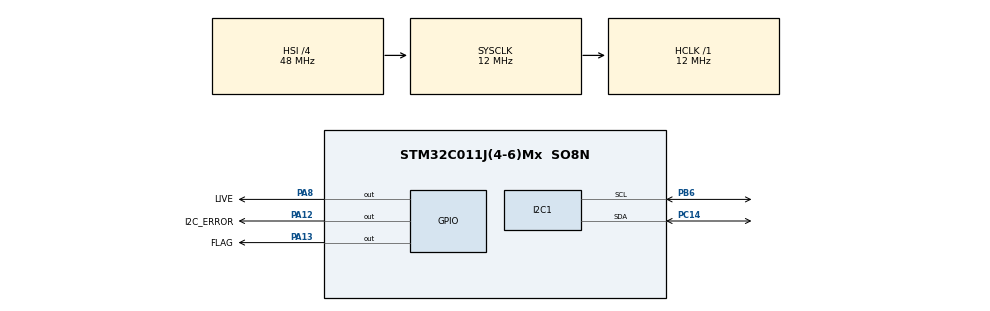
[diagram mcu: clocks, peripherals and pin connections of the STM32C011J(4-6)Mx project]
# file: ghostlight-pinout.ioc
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ADC1.NbrOfConversionFlag=0
ADC1.SelectedChannel=ADC_CHANNEL_VREFINT
ADC1.master=1
Dma.ADC1.1.Direction=DMA_PERIPH_TO_MEMORY
Dma.ADC1.1.EventEnable=DISABLE
Dma.ADC1.1.Instance=DMA1_Channel1
Dma.ADC1.1.MemDataAlignment=DMA_MDATAALIGN_HALFWORD
Dma.ADC1.1.MemInc=DMA_MINC_ENABLE
Dma.ADC1.1.Mode=DMA_NORMAL
Dma.ADC1.1.PeriphDataAlignment=DMA_PDATAALIGN_HALFWORD
Dma.ADC1.1.PeriphInc=DMA_PINC_DISABLE
Dma.ADC1.1.Polarity=HAL_DMAMUX_REQ_GEN_RISING
Dma.ADC1.1.Priority=DMA_PRIORITY_LOW
Dma.ADC1.1.RequestNumber=1
Dma.ADC1.1.SignalID=NONE
Dma.ADC1.1.SyncEnable=DISABLE
Dma.ADC1.1.SyncPolarity=HAL_DMAMUX_SYNC_NO_EVENT
Dma.ADC1.1.SyncRequestNumber=1
Dma.ADC1.1.SyncSignalID=NONE
Dma.I2C1_RX.2.Direction=DMA_PERIPH_TO_MEMORY
Dma.I2C1_RX.2.EventEnable=DISABLE
Dma.I2C1_RX.2.Instance=DMA1_Channel3
Dma.I2C1_RX.2.MemDataAlignment=DMA_MDATAALIGN_BYTE
Dma.I2C1_RX.2.MemInc=DMA_MINC_ENABLE
Dma.I2C1_RX.2.Mode=DMA_NORMAL
Dma.I2C1_RX.2.PeriphDataAlignment=DMA_PDATAALIGN_BYTE
Dma.I2C1_RX.2.PeriphInc=DMA_PINC_DISABLE
Dma.I2C1_RX.2.Polarity=HAL_DMAMUX_REQ_GEN_RISING
Dma.I2C1_RX.2.Priority=DMA_PRIORITY_LOW
Dma.I2C1_RX.2.RequestNumber=1
Dma.I2C1_RX.2.SignalID=NONE
Dma.I2C1_RX.2.SyncEnable=DISABLE
Dma.I2C1_RX.2.SyncPolarity=HAL_DMAMUX_SYNC_NO_EVENT
Dma.I2C1_RX.2.SyncRequestNumber=1
Dma.I2C1_RX.2.SyncSignalID=NONE
Dma.I2C1_TX.0.Direction=DMA_MEMORY_TO_PERIPH
Dma.I2C1_TX.0.EventEnable=DISABLE
Dma.I2C1_TX.0.Instance=DMA1_Channel2
Dma.I2C1_TX.0.MemDataAlignment=DMA_MDATAALIGN_BYTE
Dma.I2C1_TX.0.MemInc=DMA_MINC_ENABLE
Dma.I2C1_TX.0.Mode=DMA_NORMAL
Dma.I2C1_TX.0.PeriphDataAlignment=DMA_PDATAALIGN_BYTE
Dma.I2C1_TX.0.PeriphInc=DMA_PINC_DISABLE
Dma.I2C1_TX.0.Polarity=HAL_DMAMUX_REQ_GEN_RISING
Dma.I2C1_TX.0.Priority=DMA_PRIORITY_LOW
Dma.I2C1_TX.0.RequestNumber=1
Dma.I2C1_TX.0.SignalID=NONE
Dma.I2C1_TX.0.SyncEnable=DISABLE
Dma.I2C1_TX.0.SyncPolarity=HAL_DMAMUX_SYNC_NO_EVENT
Dma.I2C1_TX.0.SyncRequestNumber=1
Dma.I2C1_TX.0.SyncSignalID=NONE
Dma.Request0=I2C1_TX
Dma.Request1=ADC1
Dma.Request2=I2C1_RX
I2C1.Timing=0x00402D41
Mcu.Family=STM32C0
Mcu.Name=STM32C011J(4-6)Mx
Mcu.Package=SO8N
NVIC.DMA1_Channel1_IRQn=true\:0\:0\:false\:false\:true\:false\:true\:true
NVIC.DMA1_Channel2_3_IRQn=true\:0\:0\:false\:false\:true\:false\:true\:true
NVIC.I2C1_IRQn=true\:0\:0\:false\:false\:true\:true\:true\:true
NVIC.TIM14_IRQn=true\:0\:0\:false\:false\:true\:true\:true\:true
PA12\ [PA10].GPIO_Label=I2C_ERROR
PA12\ [PA10].Signal=GPIO_Output
PA13.GPIO_Label=FLAG
PA13.Signal=GPIO_Output
PA8.GPIO_Label=LIVE
PA8.Signal=GPIO_Output
PA8__PA11\ [PA9].StandardMode=true
PB6.Mode=I2C
PB6.Signal=I2C1_SCL
PC14-OSCX_IN\ (PC14).Mode=I2C
PC14-OSCX_IN\ (PC14).Signal=I2C1_SDA
PC14-OSCX_IN\ (PC14)__PB7.StandardMode=true
PC15-OSCX_OUT\ (PC15)__PA14-BOOT0__PB6.StandardMode=true
PF2-NRST__PA0__PA1__PA2.StandardMode=true
ProjectManager.HeapSize=0x200
ProjectManager.StackSize=0x400
ProjectManager.TargetToolchain=STM32CubeIDE
RCC.ADCFreq_Value=12000000
RCC.AHBFreq_Value=12000000
RCC.CortexFreq_Value=12000000
RCC.EXTERNAL_CLOCK_VALUE=12288000
RCC.HCLKFreq_Value=12000000
RCC.HSE_VALUE=8000000
RCC.HSI_VALUE=48000000
RCC.LSE_VALUE=32768
RCC.SYSCLKFreq_VALUE=12000000
VP_ADC1_Vref_Input.Mode=IN-Vrefint
VP_SYS_VS_PINREMAP.Mode=PINREMAP
VP_TIM14_VS_ClockSourceINT.Mode=Enable_Timer
board=custom

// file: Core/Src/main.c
/* USER CODE BEGIN Header */
/**
 ******************************************************************************
 * @file           : main.c
 * @brief          : Main program body
 ******************************************************************************
 * @attention
 *
 * Copyright (c) 2026 STMicroelectronics.
 * All rights reserved.
 *
 * This software is licensed under terms that can be found in the LICENSE file
 * in the root directory of this software component.
 * If no LICENSE file comes with this software, it is provided AS-IS.
 *
 ******************************************************************************
 */
/* USER CODE END Header */
#include "main.h"
#include "adc.h"
#include "dma.h"
#include "i2c.h"
#include "tim.h"
#include "gpio.h"

/* USER CODE BEGIN Includes */
#include "LP5817.h"
/* USER CODE END Includes */

void SystemClock_Config(void);

/* USER CODE BEGIN 0 */
void handleI2CErr(uint8_t error_code) {
	HAL_GPIO_WritePin(LIVE_GPIO_Port, LIVE_Pin, RESET);
	// Check if any error occurred (Bit 0 is our 'Error Present' marker)
	if (error_code) {
		if (error_code == HAL_ERROR)
		{
			HAL_GPIO_WritePin(I2C_ERROR_GPIO_Port, I2C_ERROR_Pin, SET);
		}
		else if (error_code == HAL_BUSY)
		{
			// Bit 2 of error_code corresponds to LP5817 Bit 1 (LED Short)
			HAL_GPIO_WritePin(FLAG_GPIO_Port, FLAG_Pin, SET);
		}
		else if (error_code == HAL_TIMEOUT)
		{
			HAL_GPIO_WritePin(I2C_ERROR_GPIO_Port, I2C_ERROR_Pin, SET);
			HAL_GPIO_WritePin(FLAG_GPIO_Port, FLAG_Pin, SET);
		}
		else
		{
			HAL_GPIO_WritePin(LIVE_GPIO_Port, LIVE_Pin, SET);
			//error is in flags from
			if (0 != (error_code & (1 << 2)))
			{
				HAL_GPIO_WritePin(I2C_ERROR_GPIO_Port, I2C_ERROR_Pin, SET);
			}
			if (0 != (error_code & (1 << 3)))
			{
				HAL_GPIO_WritePin(FLAG_GPIO_Port, FLAG_Pin, SET);
			}
		}

		// If it was just a raw I2C communication error (code was 1),
		// we might want a different indication, but we always end here:
		while (1) {
		}
	}
}
/* USER CODE END 0 */

int main(void)
{

  /* MCU Configuration--------------------------------------------------------*/

  /* Reset of all peripherals, Initializes the Flash interface and the Systick. */
  HAL_Init();

  /* Configure the system clock */
  SystemClock_Config();

  /* Initialize all configured peripherals */
  MX_GPIO_Init();
  MX_DMA_Init();
  MX_I2C1_Init();
  MX_ADC1_Init();
  MX_TIM14_Init();
  /* USER CODE BEGIN 2 */
	HAL_GPIO_WritePin(LIVE_GPIO_Port, LIVE_Pin, RESET);
	HAL_GPIO_WritePin(I2C_ERROR_GPIO_Port, I2C_ERROR_Pin, RESET);
	HAL_GPIO_WritePin(FLAG_GPIO_Port, FLAG_Pin, RESET);

	uint8_t i2c_err = LP5817_init();
	 HAL_Delay(1);
	 handleI2CErr(i2c_err);

	 HAL_Delay(500);
	 //TODO: select color based on value in eeprom
	 i2c_err = LP5817_setColor(255, 255, 255);
	 handleI2CErr(i2c_err);
  /* USER CODE END 2 */

  /* Infinite loop */
	while(1) {

    /* USER CODE BEGIN 3 */
		int i = 0;
		for (; i < 255;i++)
		{
			LP5817_setColor(i, 0, 0);
			HAL_GPIO_TogglePin(LIVE_GPIO_Port, LIVE_Pin);
			HAL_Delay(500);
		}
		for (; i != 0; i--)
		{
			HAL_GPIO_TogglePin(LIVE_GPIO_Port, LIVE_Pin);
			LP5817_setColor(i, 0, 0);
			HAL_Delay(500);
		}
		HAL_GPIO_WritePin(LIVE_GPIO_Port, LIVE_Pin, RESET);
		for (; i < 255;i++)
		{
			HAL_GPIO_TogglePin(I2C_ERROR_GPIO_Port, I2C_ERROR_Pin);
			LP5817_setColor(0, i, 0);
			HAL_Delay(500);
		}
		for (; i != 0; i--)
		{
			HAL_GPIO_TogglePin(I2C_ERROR_GPIO_Port, I2C_ERROR_Pin);
			LP5817_setColor(0, i, 0);
			HAL_Delay(500);
		}
		HAL_GPIO_WritePin(I2C_ERROR_GPIO_Port, I2C_ERROR_Pin, RESET);
		for (; i < 255;i++)
		{
			HAL_GPIO_TogglePin(FLAG_GPIO_Port, FLAG_Pin);
			LP5817_setColor(0, 0, i);
			HAL_Delay(500);
		}
		for (; i != 0; i--)
		{
			HAL_GPIO_TogglePin(FLAG_GPIO_Port, FLAG_Pin);
			LP5817_setColor(0, 0, i);
			HAL_Delay(500);
		}
		HAL_GPIO_WritePin(FLAG_GPIO_Port, FLAG_Pin, RESET);
	}
  /* USER CODE END 3 */
}

void SystemClock_Config(void)
{
  RCC_OscInitTypeDef RCC_OscInitStruct = {0};
  RCC_ClkInitTypeDef RCC_ClkInitStruct = {0};

  __HAL_FLASH_SET_LATENCY(FLASH_LATENCY_0);

  /** Initializes the RCC Oscillators according to the specified parameters
  * in the RCC_OscInitTypeDef structure.
  */
  RCC_OscInitStruct.OscillatorType = RCC_OSCILLATORTYPE_HSI;
  RCC_OscInitStruct.HSIState = RCC_HSI_ON;
  RCC_OscInitStruct.HSIDiv = RCC_HSI_DIV4;
  RCC_OscInitStruct.HSICalibrationValue = RCC_HSICALIBRATION_DEFAULT;
  if (HAL_RCC_OscConfig(&RCC_OscInitStruct) != HAL_OK)
  {
    Error_Handler();
  }

  /** Initializes the CPU, AHB and APB buses clocks
  */
  RCC_ClkInitStruct.ClockType = RCC_CLOCKTYPE_HCLK|RCC_CLOCKTYPE_SYSCLK
                              |RCC_CLOCKTYPE_PCLK1;
  RCC_ClkInitStruct.SYSCLKSource = RCC_SYSCLKSOURCE_HSI;
  RCC_ClkInitStruct.SYSCLKDivider = RCC_SYSCLK_DIV1;
  RCC_ClkInitStruct.AHBCLKDivider = RCC_HCLK_DIV1;
  RCC_ClkInitStruct.APB1CLKDivider = RCC_APB1_DIV1;

  if (HAL_RCC_ClockConfig(&RCC_ClkInitStruct, FLASH_LATENCY_0) != HAL_OK)
  {
    Error_Handler();
  }
}

void Error_Handler(void)
{
	__disable_irq();
	while (1) {
	}
}
